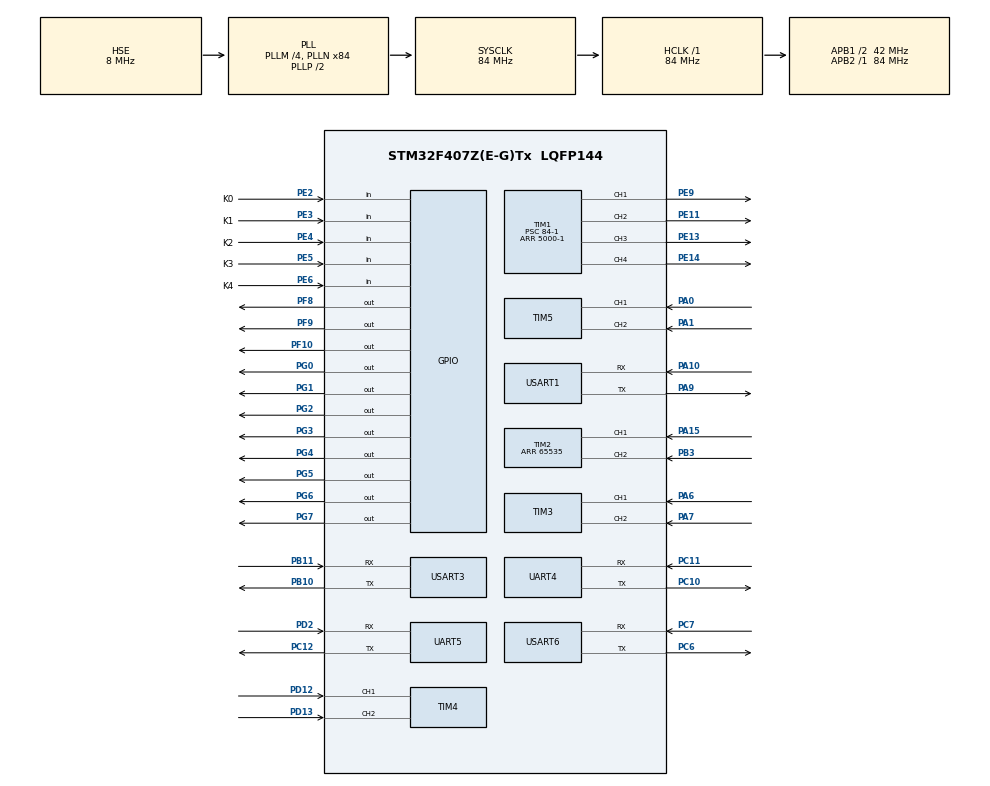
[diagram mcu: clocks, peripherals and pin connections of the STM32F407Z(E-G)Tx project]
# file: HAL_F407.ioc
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Dma.Request0=USART1_TX
Dma.Request1=UART4_RX
Dma.Request2=UART4_TX
Dma.Request3=USART3_RX
Dma.Request4=USART3_TX
Dma.UART4_RX.1.Direction=DMA_PERIPH_TO_MEMORY
Dma.UART4_RX.1.FIFOMode=DMA_FIFOMODE_DISABLE
Dma.UART4_RX.1.Instance=DMA1_Stream2
Dma.UART4_RX.1.MemDataAlignment=DMA_MDATAALIGN_BYTE
Dma.UART4_RX.1.MemInc=DMA_MINC_ENABLE
Dma.UART4_RX.1.Mode=DMA_NORMAL
Dma.UART4_RX.1.PeriphDataAlignment=DMA_PDATAALIGN_BYTE
Dma.UART4_RX.1.PeriphInc=DMA_PINC_DISABLE
Dma.UART4_RX.1.Priority=DMA_PRIORITY_LOW
Dma.UART4_TX.2.Direction=DMA_MEMORY_TO_PERIPH
Dma.UART4_TX.2.FIFOMode=DMA_FIFOMODE_DISABLE
Dma.UART4_TX.2.Instance=DMA1_Stream4
Dma.UART4_TX.2.MemDataAlignment=DMA_MDATAALIGN_BYTE
Dma.UART4_TX.2.MemInc=DMA_MINC_ENABLE
Dma.UART4_TX.2.Mode=DMA_NORMAL
Dma.UART4_TX.2.PeriphDataAlignment=DMA_PDATAALIGN_BYTE
Dma.UART4_TX.2.PeriphInc=DMA_PINC_DISABLE
Dma.UART4_TX.2.Priority=DMA_PRIORITY_LOW
Dma.USART1_TX.0.Direction=DMA_MEMORY_TO_PERIPH
Dma.USART1_TX.0.FIFOMode=DMA_FIFOMODE_DISABLE
Dma.USART1_TX.0.Instance=DMA2_Stream7
Dma.USART1_TX.0.MemDataAlignment=DMA_MDATAALIGN_BYTE
Dma.USART1_TX.0.MemInc=DMA_MINC_ENABLE
Dma.USART1_TX.0.Mode=DMA_NORMAL
Dma.USART1_TX.0.PeriphDataAlignment=DMA_PDATAALIGN_BYTE
Dma.USART1_TX.0.PeriphInc=DMA_PINC_DISABLE
Dma.USART1_TX.0.Priority=DMA_PRIORITY_LOW
Dma.USART3_RX.3.Direction=DMA_PERIPH_TO_MEMORY
Dma.USART3_RX.3.FIFOMode=DMA_FIFOMODE_DISABLE
Dma.USART3_RX.3.Instance=DMA1_Stream1
Dma.USART3_RX.3.MemDataAlignment=DMA_MDATAALIGN_BYTE
Dma.USART3_RX.3.MemInc=DMA_MINC_ENABLE
Dma.USART3_RX.3.Mode=DMA_NORMAL
Dma.USART3_RX.3.PeriphDataAlignment=DMA_PDATAALIGN_BYTE
Dma.USART3_RX.3.PeriphInc=DMA_PINC_DISABLE
Dma.USART3_RX.3.Priority=DMA_PRIORITY_LOW
Dma.USART3_TX.4.Direction=DMA_MEMORY_TO_PERIPH
Dma.USART3_TX.4.FIFOMode=DMA_FIFOMODE_DISABLE
Dma.USART3_TX.4.Instance=DMA1_Stream3
Dma.USART3_TX.4.MemDataAlignment=DMA_MDATAALIGN_BYTE
Dma.USART3_TX.4.MemInc=DMA_MINC_ENABLE
Dma.USART3_TX.4.Mode=DMA_NORMAL
Dma.USART3_TX.4.PeriphDataAlignment=DMA_PDATAALIGN_BYTE
Dma.USART3_TX.4.PeriphInc=DMA_PINC_DISABLE
Dma.USART3_TX.4.Priority=DMA_PRIORITY_LOW
Mcu.Family=STM32F4
Mcu.Name=STM32F407Z(E-G)Tx
Mcu.Package=LQFP144
NVIC.DMA1_Stream1_IRQn=true\:0\:0\:false\:false\:true\:false\:true\:true
NVIC.DMA1_Stream2_IRQn=true\:0\:0\:false\:false\:true\:false\:true\:true
NVIC.DMA1_Stream3_IRQn=true\:0\:0\:false\:false\:true\:false\:true\:true
NVIC.DMA1_Stream4_IRQn=true\:0\:0\:false\:false\:true\:false\:true\:true
NVIC.DMA2_Stream7_IRQn=true\:0\:0\:false\:false\:true\:false\:true\:true
NVIC.PriorityGroup=NVIC_PRIORITYGROUP_4
NVIC.TIM1_BRK_TIM9_IRQn=true\:0\:0\:false\:false\:true\:true\:true\:true
NVIC.UART4_IRQn=true\:3\:0\:true\:false\:true\:true\:true\:true
NVIC.UART5_IRQn=true\:0\:0\:false\:false\:true\:true\:true\:true
NVIC.USART3_IRQn=true\:4\:0\:true\:false\:true\:true\:true\:true
NVIC.USART6_IRQn=true\:3\:0\:true\:false\:true\:true\:true\:true
PA0-WKUP.Signal=S_TIM5_CH1
PA1.Signal=S_TIM5_CH2
PA10.Mode=Asynchronous
PA10.Signal=USART1_RX
PA13.Mode=Serial_Wire
PA13.Signal=SYS_JTMS-SWDIO
PA14.Mode=Serial_Wire
PA14.Signal=SYS_JTCK-SWCLK
PA15.Signal=S_TIM2_CH1_ETR
PA6.Signal=S_TIM3_CH1
PA7.Signal=S_TIM3_CH2
PA9.Mode=Asynchronous
PA9.Signal=USART1_TX
PB10.Mode=Asynchronous
PB10.Signal=USART3_TX
PB11.Mode=Asynchronous
PB11.Signal=USART3_RX
PB3.Signal=S_TIM2_CH2
PC10.Mode=Asynchronous
PC10.Signal=UART4_TX
PC11.Mode=Asynchronous
PC11.Signal=UART4_RX
PC12.Mode=Asynchronous
PC12.Signal=UART5_TX
PC6.Mode=Asynchronous
PC6.Signal=USART6_TX
PC7.Mode=Asynchronous
PC7.Signal=USART6_RX
PD12.Signal=S_TIM4_CH1
PD13.Signal=S_TIM4_CH2
PD2.Mode=Asynchronous
PD2.Signal=UART5_RX
PE11.Signal=S_TIM1_CH2
PE13.Signal=S_TIM1_CH3
PE14.Signal=S_TIM1_CH4
PE2.GPIO_Label=K0
PE2.GPIO_PuPd=GPIO_PULLUP
PE2.Signal=GPIO_Input
PE3.GPIO_Label=K1
PE3.GPIO_PuPd=GPIO_PULLUP
PE3.Signal=GPIO_Input
PE4.GPIO_Label=K2
PE4.GPIO_PuPd=GPIO_PULLUP
PE4.Signal=GPIO_Input
PE5.GPIO_Label=K3
PE5.GPIO_PuPd=GPIO_PULLUP
PE5.Signal=GPIO_Input
PE6.GPIO_Label=K4
PE6.GPIO_PuPd=GPIO_PULLUP
PE6.Signal=GPIO_Input
PE9.Signal=S_TIM1_CH1
PF10.PinState=GPIO_PIN_RESET
PF10.Signal=GPIO_Output
PF8.PinState=GPIO_PIN_RESET
PF8.Signal=GPIO_Output
PF9.PinState=GPIO_PIN_SET
PF9.Signal=GPIO_Output
PG0.Signal=GPIO_Output
PG1.Signal=GPIO_Output
PG2.Signal=GPIO_Output
PG3.Signal=GPIO_Output
PG4.Signal=GPIO_Output
PG5.Signal=GPIO_Output
PG6.Signal=GPIO_Output
PG7.Signal=GPIO_Output
PH0-OSC_IN.Mode=HSE-External-Oscillator
PH0-OSC_IN.Signal=RCC_OSC_IN
PH1-OSC_OUT.Mode=HSE-External-Oscillator
PH1-OSC_OUT.Signal=RCC_OSC_OUT
ProjectManager.HeapSize=0x200
ProjectManager.StackSize=0x400
ProjectManager.TargetToolchain=MDK-ARM V5.32
RCC.48MHZClocksFreq_Value=42000000
RCC.AHBFreq_Value=84000000
RCC.APB1CLKDivider=RCC_HCLK_DIV2
RCC.APB1Freq_Value=42000000
RCC.APB1TimFreq_Value=84000000
RCC.APB2Freq_Value=84000000
RCC.APB2TimFreq_Value=84000000
RCC.CortexFreq_Value=84000000
RCC.HCLKFreq_Value=84000000
RCC.HSE_VALUE=8000000
RCC.HSI_VALUE=16000000
RCC.LSE_VALUE=32768
RCC.PLLM=4
RCC.PLLN=84
RCC.PLLSourceVirtual=RCC_PLLSOURCE_HSE
RCC.SYSCLKFreq_VALUE=84000000
RCC.SYSCLKSource=RCC_SYSCLKSOURCE_PLLCLK
RCC.VCOOutputFreq_Value=168000000
SH.S_TIM1_CH1.0=TIM1_CH1,PWM Generation1 CH1
SH.S_TIM1_CH2.0=TIM1_CH2,PWM Generation2 CH2
SH.S_TIM1_CH3.0=TIM1_CH3,PWM Generation3 CH3
SH.S_TIM1_CH4.0=TIM1_CH4,PWM Generation4 CH4
SH.S_TIM2_CH1_ETR.0=TIM2_CH1,Encoder_Interface
SH.S_TIM2_CH2.0=TIM2_CH2,Encoder_Interface
SH.S_TIM3_CH1.0=TIM3_CH1,Encoder_Interface
SH.S_TIM3_CH2.0=TIM3_CH2,Encoder_Interface
SH.S_TIM4_CH1.0=TIM4_CH1,Encoder_Interface
SH.S_TIM4_CH2.0=TIM4_CH2,Encoder_Interface
SH.S_TIM5_CH1.0=TIM5_CH1,Encoder_Interface
SH.S_TIM5_CH2.0=TIM5_CH2,Encoder_Interface
TIM1.AutoReloadPreload=TIM_AUTORELOAD_PRELOAD_DISABLE
TIM1.Channel-PWM\ Generation1\ CH1=TIM_CHANNEL_1
TIM1.Channel-PWM\ Generation2\ CH2=TIM_CHANNEL_2
TIM1.Channel-PWM\ Generation3\ CH3=TIM_CHANNEL_3
TIM1.Channel-PWM\ Generation4\ CH4=TIM_CHANNEL_4
TIM1.Period=5000-1
TIM1.Prescaler=84-1
TIM2.EncoderMode=TIM_ENCODERMODE_TI12
TIM2.Period=65535
TIM3.EncoderMode=TIM_ENCODERMODE_TI12
TIM4.EncoderMode=TIM_ENCODERMODE_TI12
TIM5.EncoderMode=TIM_ENCODERMODE_TI12
TIM9.Period=5000-1
TIM9.Prescaler=84-1
UART4.VirtualMode=Asynchronous
UART5.VirtualMode=Asynchronous
USART1.VirtualMode=VM_ASYNC
USART3.VirtualMode=VM_ASYNC
USART6.VirtualMode=VM_ASYNC
VP_TIM1_VS_ClockSourceINT.Mode=Internal
VP_TIM9_VS_ClockSourceINT.Mode=Internal
board=custom

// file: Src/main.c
/* USER CODE BEGIN Header */
/**
  ******************************************************************************
  * @file           : main.c
  * @brief          : Main program body
  ******************************************************************************
  * @attention
  *
  * Copyright (c) 2022 STMicroelectronics.
  * All rights reserved.
  *
  * This software is licensed under terms that can be found in the LICENSE file
  * in the root directory of this software component.
  * If no LICENSE file comes with this software, it is provided AS-IS.
  *
  ******************************************************************************
  */
/* USER CODE END Header */
#include "main.h"
#include "dma.h"
#include "tim.h"
#include "usart.h"
#include "gpio.h"

/* USER CODE BEGIN Includes */
#include "jy61.h"
#include "motor.h"
#include "blue.h"
#include "k210.h"
#include "key.h"
#include "all.h"

/* USER CODE END Includes */

/* USER CODE BEGIN PTD */
#define  jy61_uart4 huart4

u8 Blue_rxbuff[Blue_data_length];//存放激光数据（DMA）
u8 jy61_rxbuff[jy61_data_length];

u8 Select[2]={0x4C,0x52};

float vofa_data[2];

/* USER CODE END PTD */

void SystemClock_Config(void);

int main(void)
{

  /* MCU Configuration--------------------------------------------------------*/

  /* Reset of all peripherals, Initializes the Flash interface and the Systick. */
  HAL_Init();

  /* Configure the system clock */
  SystemClock_Config();

  /* Initialize all configured peripherals */
  MX_GPIO_Init();
  MX_DMA_Init();
  MX_USART1_UART_Init();
  MX_UART4_Init();
  MX_TIM1_Init();
  MX_TIM2_Init();
  MX_TIM3_Init();
  MX_TIM4_Init();
  MX_TIM5_Init();
  MX_TIM9_Init();
  MX_USART3_UART_Init();
  MX_USART6_UART_Init();
  MX_UART5_Init();
  /* USER CODE BEGIN 2 */

	start_flag=0;
//	jy61_USART4_Init();
	Blue_USART3_Init();
	K210_USART6_Init();
	LED2=1;
	Motor_Init();

	JM:;
	KEY3_Proc();//start_flag
	KEY4_Proc();//MODE
	KEY2_Proc();
	if(start_flag==0)goto JM;
	All_Init();

	if(MODE==0)//外圈
	{
		speedExp=1100;
		k210.Kp=3;
		k210.Ki=0;
		k210.Kd=7.5;
	}
	else //内圈
	{
		speedExp=550;
		k210.Kp=1.4;
		k210.Ki=0;
		k210.Kd=1;
	}

	if(circle==1)
	{
		k210.Kp=2.2;
		k210.Ki=0;
		k210.Kd=1;
		MODE=0;
		speedExp=720;

	}
	else goto jm;
//	while(blue_flag==0){printf("wait other");}
	jm:;
	HAL_TIM_Base_Start_IT(&htim9);

  /* USER CODE END 2 */

  /* Infinite loop */
  /* USER CODE BEGIN WHILE */
  while (1)
  {
//		printf("%.2f,%.2f,%.2f\r\n",jy61_inf.PITCH,jy61_inf.ROLL,jy61_inf.YAW);
//		printf("%d,%d\r\n",M3,M4);
//		printf("%d,%d\r\n",(int)Motor[0].Out,(int)Motor[1].Out);
//		printf("%f\r\t%f\r\t%f\r\n",action_inf.pos_x,action_inf.pos_y,action_inf.angle_z);

//		Get_Encoder_Data(&M1,&M2,&M3,&M4);
//		vofa_data[0]=M3;
//		vofa_data[1]=0;
//		printf("%d\r\t%d\r\t%d\r\n",Outside,(int)k210.Mea,(int)k210.Out);
//		printf("%d\r\t%d\r\n",SBusRemote.Channel[0],SBusRemote.Channel[1]);
//		vofa_send_float(vofa_data,2);

//		send_speed_date(3,2000);
//		send_speed_date(4,2000);

//		printf("%d\r\n",speedExp);
//		printf("%d\r\n",stop_flag);

    /* USER CODE END WHILE */

  }
}

void SystemClock_Config(void)
{
  RCC_OscInitTypeDef RCC_OscInitStruct = {0};
  RCC_ClkInitTypeDef RCC_ClkInitStruct = {0};

  /** Configure the main internal regulator output voltage
  */
  __HAL_RCC_PWR_CLK_ENABLE();
  __HAL_PWR_VOLTAGESCALING_CONFIG(PWR_REGULATOR_VOLTAGE_SCALE1);

  /** Initializes the RCC Oscillators according to the specified parameters
  * in the RCC_OscInitTypeDef structure.
  */
  RCC_OscInitStruct.OscillatorType = RCC_OSCILLATORTYPE_HSE;
  RCC_OscInitStruct.HSEState = RCC_HSE_ON;
  RCC_OscInitStruct.PLL.PLLState = RCC_PLL_ON;
  RCC_OscInitStruct.PLL.PLLSource = RCC_PLLSOURCE_HSE;
  RCC_OscInitStruct.PLL.PLLM = 4;
  RCC_OscInitStruct.PLL.PLLN = 84;
  RCC_OscInitStruct.PLL.PLLP = RCC_PLLP_DIV2;
  RCC_OscInitStruct.PLL.PLLQ = 4;
  if (HAL_RCC_OscConfig(&RCC_OscInitStruct) != HAL_OK)
  {
    Error_Handler();
  }

  /** Initializes the CPU, AHB and APB buses clocks
  */
  RCC_ClkInitStruct.ClockType = RCC_CLOCKTYPE_HCLK|RCC_CLOCKTYPE_SYSCLK
                              |RCC_CLOCKTYPE_PCLK1|RCC_CLOCKTYPE_PCLK2;
  RCC_ClkInitStruct.SYSCLKSource = RCC_SYSCLKSOURCE_PLLCLK;
  RCC_ClkInitStruct.AHBCLKDivider = RCC_SYSCLK_DIV1;
  RCC_ClkInitStruct.APB1CLKDivider = RCC_HCLK_DIV2;
  RCC_ClkInitStruct.APB2CLKDivider = RCC_HCLK_DIV1;

  if (HAL_RCC_ClockConfig(&RCC_ClkInitStruct, FLASH_LATENCY_2) != HAL_OK)
  {
    Error_Handler();
  }
}

void Error_Handler(void)
{
  __disable_irq();
  while (1)
  {
  }
}
